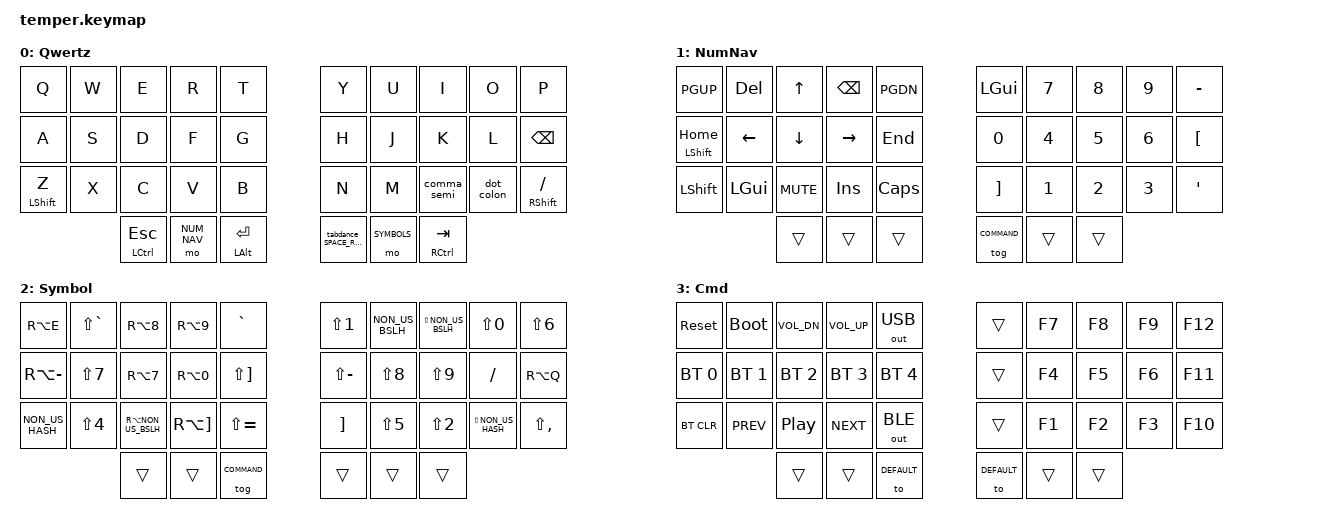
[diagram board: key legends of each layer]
/*
 * Copyright (c) 2020 The ZMK Contributors
 *
 * SPDX-License-Identifier: MIT
 */

#include <behaviors.dtsi>
#include <dt-bindings/zmk/keys.h>
#include <dt-bindings/zmk/bt.h>
#include <dt-bindings/zmk/outputs.h>

#define DEFAULT 0
#define NUM_NAV 1
#define SYMBOLS 2
#define COMMAND 3

#define ______ &trans

/ {
    behaviors {
        dot_colon: dot_colon {
            compatible = "zmk,behavior-tap-dance";
            bindings = <&kp DOT &kp COLON>;
            #binding-cells = <0>;
        };

        comma_semi: comma_semi {
            compatible = "zmk,behavior-tap-dance";
            bindings = <&kp COMMA &kp SEMI>;
            #binding-cells = <0>;
        };

        tabdance_SPACE_RALT: tabdance_SPACE_RALT {
            compatible = "zmk,behavior-tap-dance";
            bindings = <&kp SPACE &kp RALT>;
            #binding-cells = <0>;
        };



    };

    keymap {
        compatible = "zmk,keymap";

        default_layer {
            display-name = "Qwertz";
            bindings = <
//            --------|-------|---------|-------|-------|     |------|--------|-------|---------|-----------|
                &kp Q          &kp W   &kp E    &kp R        &kp T               &kp Y                &kp U       &kp I       &kp O      &kp P
                &kp A          &kp S   &kp D    &kp F        &kp G               &kp H                &kp J       &kp K       &kp L      &kp BSPC
                &mt LSHIFT Z   &kp X   &kp C    &kp V        &kp B               &kp N                &kp M       &comma_semi &dot_colon &mt RSHIFT SLASH
                               &mt LCTRL ESC    &mo NUM_NAV  &mt LALT ENTER      &tabdance_SPACE_RALT &mo SYMBOLS &mt RCTRL TAB
            >;
        };

        num_nav_layer {
            display-name = "NumNav";
            bindings = <
                &kp PGUP     &kp DEL     &kp UP     &kp BSPC     &kp PGDN       &kp LGUI   &kp N7   &kp N8   &kp N9     &kp MINUS
                &mt LSHIFT HOME &kp LEFT &kp DOWN  &kp RIGHT    &kp END        &kp N0     &kp N4   &kp N5   &kp N6     &kp LBKT
                &kp LSHIFT     &kp LGUI  &kp C_MUTE &kp INS     &kp CAPS       &kp RBKT   &kp N1   &kp N2   &kp N3     &kp QUOT
                                  ______  ______   ______       &tog COMMAND    ______     ______
            >;
        };

        symbols_layer {
            display-name = "Symbol";
            bindings = <
                &kp RA(E)     &kp LS(GRAVE)  &kp RA(N8)   &kp RA(N9)   &kp GRAVE      &kp LS(N1) &kp NON_US_BSLH &kp LS(NON_US_BSLH) &kp LS(N0) &kp LS(N6)
                &kp RA(MINUS) &kp LS(N7)     &kp RA(N7)   &kp RA(N0)   &kp LS(RBKT)   &kp LS(MINUS) &kp LS(N8) &kp LS(N9) &kp SLASH &kp RA(Q)
                &kp NON_US_HASH &kp LS(N4) &kp RA(NON_US_BSLH) &kp RA(RBKT) &kp LS(EQL) &kp RBKT &kp LS(N5) &kp LS(N2) &kp LS(NON_US_HASH) &kp LS(COMMA)
                                   ______     ______   &tog COMMAND     ______     ______     ______
            >;
        };

        command_layer {
            display-name = "Cmd";
            bindings = <
                &sys_reset &bootloader &kp C_VOL_DN &kp C_VOL_UP &out OUT_USB    ______    &kp F7 &kp F8 &kp F9 &kp F12
                &bt BT_SEL 0 &bt BT_SEL 1 &bt BT_SEL 2 &bt BT_SEL 3 &bt BT_SEL 4 ______    &kp F4 &kp F5 &kp F6 &kp F11
                &bt BT_CLR  &kp C_PREV &kp C_PP &kp C_NEXT &out OUT_BLE         ______    &kp F1 &kp F2 &kp F3 &kp F10
                                      ______    ______   &to DEFAULT    &to DEFAULT ______  ______
            >;
        };
    };
};
